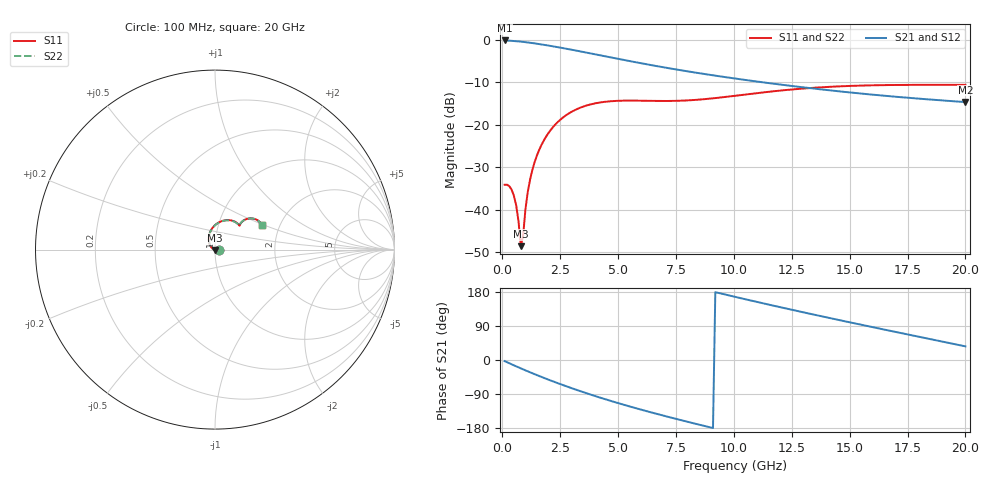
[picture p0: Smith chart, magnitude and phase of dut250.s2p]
! Touchstone file exported from HFSS 2024.1.0
!  File:  C:/UserFiles/LocalFiles/RDL_TSV_Batchsim/temp_RDL_TSV_250_1779456474.aedt
!  Generated:  09:45:34 PM May 22, 2026
!  Design:  RDL_TSV
!  Project:  temp_RDL_TSV_250_1779456474
!  Setup:  Setup1
!  Solution:  Sweep
! Variables:
!  dtsv = 10.53um
!  hbump = 3um
!  htsv = 99.47um
!  ldown = 659.15um
!  lrdl = 685.77um
!  p = 40
!  p1 = 55.42um
!  rhole = 10um
!  subl = 4720.53um
!  t = 450um
!  tdown = 3.19um
!  trdl = 3.11um
!  viad = 10um
!  wdown = 25.9um
!  wrdl = 29.77um
!  xbump = 18um
# GHz S MA R 50.000000
! Terminal data exported
! Port[1] = TM1_1_T1
! Port[2] = TM1_4_T1
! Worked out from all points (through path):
!   200 points, 100 MHz to 20 GHz, reference 50 ohm
!   highest |S21| = -0.18 dB at 100 MHz (marker M1); lowest = -14.7 dB at 20 GHz (marker M2)
!   group delay of S21, straight-line fit = 42.6 ps
!   lowest |S11| = -48.6 dB at 800 MHz (marker M3), VSWR 1.01, Z = 50 - j0.372 ohm
!   |S11| at or under -10 dB: start of sweep to end of sweep
!   |S22| runs from -48.5 to -10.6 dB; largest |S21 - S12| = 9.8e-15
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0.1  0.01969 -1.0  0.9794 -2.9  0.9794 -2.9  0.01969 -1.0
! Gamma 0 0 0 0
! Port Impedance 50 0 50 0
0.3  0.01898 -8.7  0.9735 -8.5  0.9735 -8.5  0.01899 -8.7
0.5  0.01465 -21.7  0.9651 -14.0  0.9651 -14.0  0.01468 -21.6
0.6  0.01127 -30.6  0.9602 -16.7  0.9602 -16.7  0.01131 -30.5
0.7  0.007337 -45.1  0.9547 -19.4  0.9547 -19.4  0.007387 -44.9
0.8  0.00373 -85.7  0.9488 -22.1  0.9488 -22.1  0.003764 -84.8
0.9  0.004981 -165.2  0.9424 -24.7  0.9424 -24.7  0.004914 -164.5
1  0.01014 167.9  0.9355 -27.3  0.9355 -27.3  0.01003 168.1
1.1  0.01619 156.5  0.9283 -29.9  0.9283 -29.9  0.01606 156.5
1.2  0.02269 149.1  0.9208 -32.5  0.9208 -32.5  0.02253 149.1
1.4  0.03655 138.2  0.9048 -37.5  0.9048 -37.5  0.03633 138.2
1.6  0.05106 129.6  0.888 -42.5  0.888 -42.5  0.05079 129.6
2  0.08033 115.1  0.8528 -52.1  0.8528 -52.1  0.07993 115.0
2.4  0.1078 102.7  0.8165 -61.3  0.8165 -61.3  0.1073 102.7
3.5  0.1636 76.3  0.7171 -84.9  0.7171 -84.9  0.1627 76.3
5.1  0.1915 53.4  0.5881 -115.5  0.5881 -115.5  0.1903 53.4
6.8  0.1902 44.7  0.482 -144.3  0.482 -144.3  0.1891 44.8
8.3  0.1954 44.9  0.4118 -167.6  0.4118 -167.6  0.1944 45.1
10.1  0.2197 45.8  0.3478 166.0  0.3478 166.0  0.2189 46.0
13.4  0.2714 39.7  0.2672 120.5  0.2672 120.5  0.2707 39.8
16.7  0.2929 31.7  0.2167 77.7  0.2167 77.7  0.2921 31.8
20  0.2944 27.6  0.1847 36.0  0.1847 36.0  0.2936 27.7
